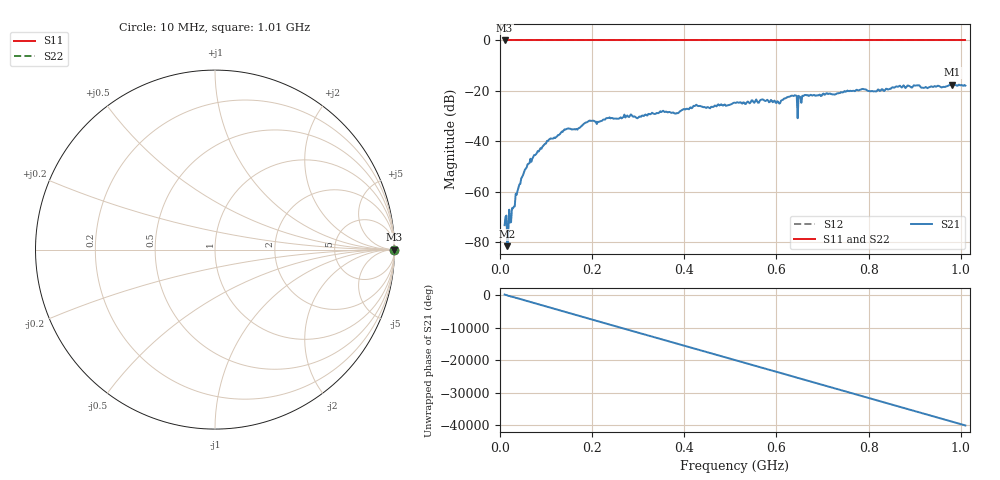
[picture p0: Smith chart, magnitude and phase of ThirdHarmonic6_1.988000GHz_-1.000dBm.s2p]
! 8/16/2025 11:54:02 PM
! C:\ANRITSUVNA\TEMP\TEMP.S2P
! CHANNEL.1
! TR.MEASUREMENT
! RAW.DATA
! RF.CORRECTION.OFF
! AVERAGING.OFF
! IF.BANDWIDTH: 5KHZ
! SWEEPTYPE:  FREQ.SWEEP(Linear)
! Reference Plane Port Info
! PORT:  PORT1  PORT2
! DISTANCE:  0  m  0  m
! TIME:  0  s  0  s
! PHASE.OFFSET:  0  deg.  0  deg.
! LOSS:  0  dB  0  dB
! REF.LOSS:  0  dB  0  dB
! REF.FREQ:  0  Hz  0  Hz
! Power Info
! POWER:  -20  dBm  -20  dBm
! EFF.POWER:  -20  dBm  -20  dBm
! SOURCE.ATTEN:  0  dB  0  dB
! TEST.ATTEN:  0  dB  0  dB
# GHZ S RI R 50.0
! FREQ.GHZ  S11RE  S11IM  S21RE  S21IM  S12RE  S12IM  S22RE  S22IM
!; PortSelection: Port_12
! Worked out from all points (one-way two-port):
!   501 points, 10 MHz to 1.01 GHz, reference 50 ohm
!   highest |S21| = -17.49 dB at 982 MHz (marker M1); lowest = -81.6 dB at 16 MHz (marker M2)
!   lowest |S11| = 0.0 dB at 10 MHz (marker M3)
!   |S11| at or under -10 dB: nowhere
!   |S22| runs from 0.0 to 0.0 dB; largest |S21 - S12| = 1.1
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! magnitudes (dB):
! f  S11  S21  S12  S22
! 10 MHz  0.0  -73.3  0.0  0.0
! 14 MHz  0.0  -69.5  0.0  0.0
! 16 MHz  0.0  -81.6  0.0  0.0
! 20 MHz  0.0  -67.1  0.0  0.0
! 24 MHz  0.0  -72.1  0.0  0.0
! 50 MHz  0.0  -53.4  0.0  0.0
! 70 MHz  0.0  -47.0  0.0  0.0
! 106 MHz  0.0  -39.4  0.0  0.0
! 144 MHz  0.0  -35.1  0.0  0.0
! 178 MHz  0.0  -33.7  0.0  0.0
! 196 MHz  0.0  -31.9  0.0  0.0
! 344 MHz  0.0  -28.9  0.0  0.0
! 510 MHz  0.0  -24.7  0.0  0.0
! 604 MHz  0.0  -24.4  0.0  0.0
! 638 MHz  0.0  -22.0  0.0  0.0
! 650 MHz  0.0  -22.2  0.0  0.0
! 652 MHz  0.0  -22.5  0.0  0.0
! 660 MHz  0.0  -21.8  0.0  0.0
! 678 MHz  0.0  -21.9  0.0  0.0
! 844 MHz  0.0  -19.3  0.0  0.0
! 982 MHz  0.0  -17.5  0.0  0.0
! 1.01 GHz  0.0  -17.9  0.0  0.0
